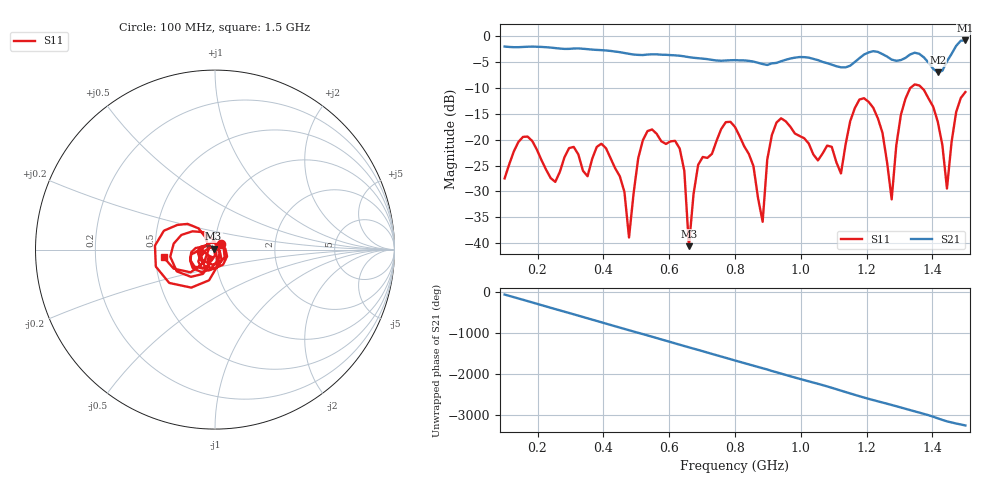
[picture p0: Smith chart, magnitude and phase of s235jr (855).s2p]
! NanoVNA-App
! Date: 2025-09-25 15:10:49
! Start: 100MHz Stop: 1,5GHz Points: 101
! S-Parameter data: F S11 S21 S12 S22
# Hz S RI R 50
!  Frequency  S11_Real  S11_Imag  S21_Real  S21_Imag  S12_Real  S12_Imag  S22_Real  S22_Imag
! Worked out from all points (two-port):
!   101 points, 100 MHz to 1.5 GHz, reference 50 ohm
!   highest |S21| = -0.78 dB at 1.5 GHz (marker M1); lowest = -7.0 dB at 1.416 GHz (marker M2)
!   |S21| within 3 dB of the highest: start of sweep to 637 MHz; 1.187 GHz to 1.259 GHz (71.96 MHz wide, 5.89 % of centre) (the widest 2 of 4)
!   lowest |S11| = -40.6 dB at 660 MHz (marker M3), VSWR 1.02, Z = 49.2 + j0.528 ohm
!   |S11| at or under -10 dB: start of sweep to 1.332 GHz; 1.368 GHz to end of sweep
!   S12 and S22 are empty: the file has one direction only
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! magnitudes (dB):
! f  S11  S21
! 100 MHz  -27.5  -2.0
! 156 MHz  -19.4  -2.0
! 338 MHz  -26.0  -2.4
! 408 MHz  -21.6  -2.7
! 478 MHz  -38.9  -3.4
! 520 MHz  -20.1  -3.6
! 576 MHz  -20.3  -3.5
! 632 MHz  -21.7  -3.7
! 660 MHz  -40.6  -4.0
! 688 MHz  -24.9  -4.2
! 800 MHz  -17.5  -4.6
! 884 MHz  -35.9  -5.3
! 926 MHz  -16.7  -5.1
! 1.038 GHz  -22.8  -4.3
! 1.122 GHz  -26.5  -6.0
! 1.192 GHz  -12.0  -3.5
! 1.248 GHz  -18.6  -3.4
! 1.276 GHz  -31.5  -4.5
! 1.332 GHz  -10.0  -3.5
! 1.416 GHz  -16.5  -7.0
! 1.444 GHz  -29.4  -4.8
! 1.5 GHz  -10.8  -0.8
